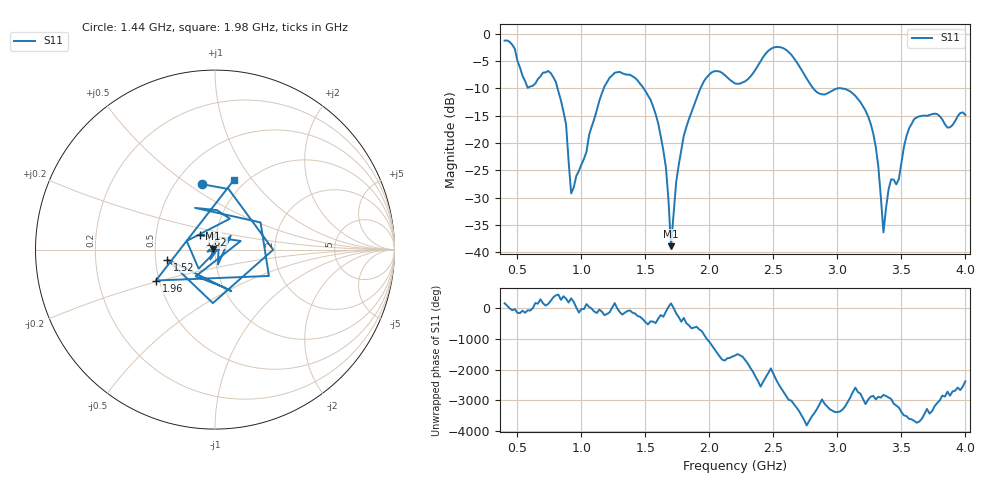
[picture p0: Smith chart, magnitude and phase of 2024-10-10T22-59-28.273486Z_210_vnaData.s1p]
! Created with skrf (http://scikit-rf.org).
# Hz S RI R 50.0
!freq ReS11 ImS11
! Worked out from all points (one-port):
!   181 points, 400 MHz to 4 GHz, reference 50 ohm
!   lowest |S11| = -38.9 dB at 1.7 GHz (marker M1), VSWR 1.02, Z = 49 + j0.465 ohm
!   |S11| at or under -10 dB: 813.4 MHz to 1.175 GHz (361.4 MHz wide, 36.4 % of centre); 1.486 GHz to 1.931 GHz (445 MHz wide, 26 % of centre); 3.027 GHz to end of sweep (the widest 3 of 4)
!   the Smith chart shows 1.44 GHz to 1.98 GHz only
!   S11 on the Smith chart (normalised r, x): 1.44 GHz: 0.67, +0.57; 1.52 GHz: 0.58, -0.07; 1.62 GHz: 0.84, +0.14; 1.96 GHz: 0.48, -0.19; 1.98 GHz: 0.88, +0.81
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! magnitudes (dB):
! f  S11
! 400 MHz  -1.3
! 580 MHz  -9.9
! 760 MHz  -7.2
! 860 MHz  -14.3
! 880 MHz  -16.6
! 920 MHz  -29.2
! 1.18 GHz  -9.7
! 1.3 GHz  -7.0
! 1.44 GHz  -8.6
! 1.52 GHz  -11.3
! 1.62 GHz  -18.8
! 1.66 GHz  -24.4
! 1.7 GHz  -38.9
! 1.76 GHz  -24.1
! 1.96 GHz  -8.6
! 1.98 GHz  -8.0
! 2.2 GHz  -9.1
! 2.5 GHz  -2.6
! 2.66 GHz  -4.5
! 2.84 GHz  -10.7
! 3.1 GHz  -10.6
! 3.28 GHz  -18.3
! 3.32 GHz  -24.4
! 3.36 GHz  -36.3
! 3.4 GHz  -28.5
! 3.48 GHz  -26.6
! 3.56 GHz  -17.3
! 4 GHz  -14.9
